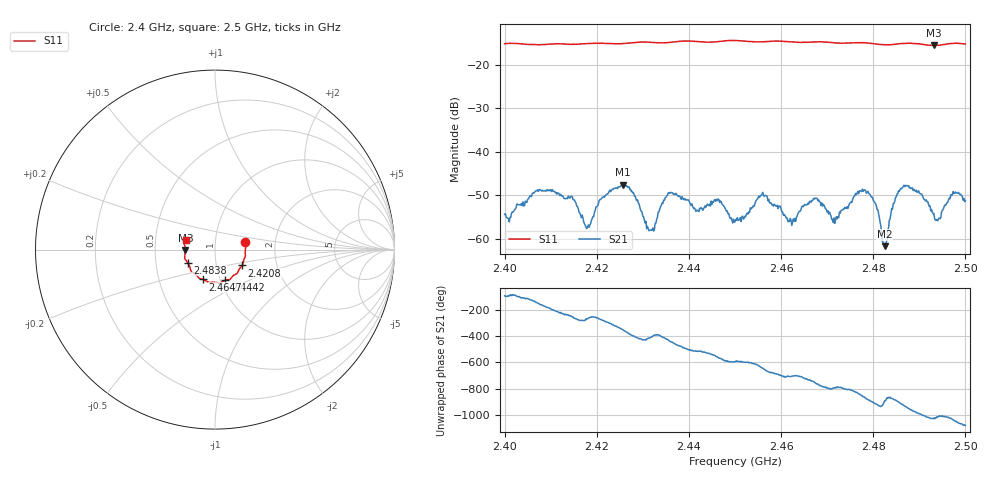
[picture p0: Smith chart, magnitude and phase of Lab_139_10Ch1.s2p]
# Hz S RI R 50
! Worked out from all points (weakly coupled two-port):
!   601 points, 2.4 GHz to 2.5 GHz, reference 50 ohm
!   highest |S21| = -47.51 dB at 2.4257 GHz (marker M1); lowest = -61.6 dB at 2.4825 GHz (marker M2)
!   lowest |S11| = -15.6 dB at 2.4932 GHz (marker M3), VSWR 1.40, Z = 35.8 - j0.108 ohm
!   |S11| at or under -10 dB: start of sweep to end of sweep
!   S12 and S22 are empty: the file has one direction only
!   S11 on the Smith chart (normalised r, x): 2.4 GHz: 1.40, +0.12; 2.4208 GHz: 1.33, -0.24; 2.4442 GHz: 1.05, -0.37; 2.4647 GHz: 0.83, -0.29; 2.4838 GHz: 0.73, -0.11; 2.5 GHz: 0.72, +0.08
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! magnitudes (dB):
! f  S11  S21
! 2.4 GHz  -15.2  -54.4
! 2.4095 GHz  -15.3  -48.8
! 2.4167 GHz  -15.3  -55.1
! 2.4208 GHz  -15.1  -50.9
! 2.4257 GHz  -15.2  -47.5
! 2.4313 GHz  -14.9  -58.1
! 2.4333 GHz  -15.0  -53.8
! 2.436 GHz  -14.9  -49.4
! 2.4442 GHz  -14.9  -52.2
! 2.45 GHz  -14.5  -56.1
! 2.4557 GHz  -14.8  -50.0
! 2.462 GHz  -14.8  -55.3
! 2.4647 GHz  -14.9  -52.5
! 2.4667 GHz  -14.8  -51.2
! 2.4717 GHz  -15.0  -56.4
! 2.4785 GHz  -15.0  -49.5
! 2.4825 GHz  -15.5  -61.6
! 2.4833 GHz  -15.5  -57.3
! 2.4838 GHz  -15.4  -54.3
! 2.4872 GHz  -15.1  -47.7
! 2.4932 GHz  -15.6  -54.2
! 2.5 GHz  -15.3  -51.2
